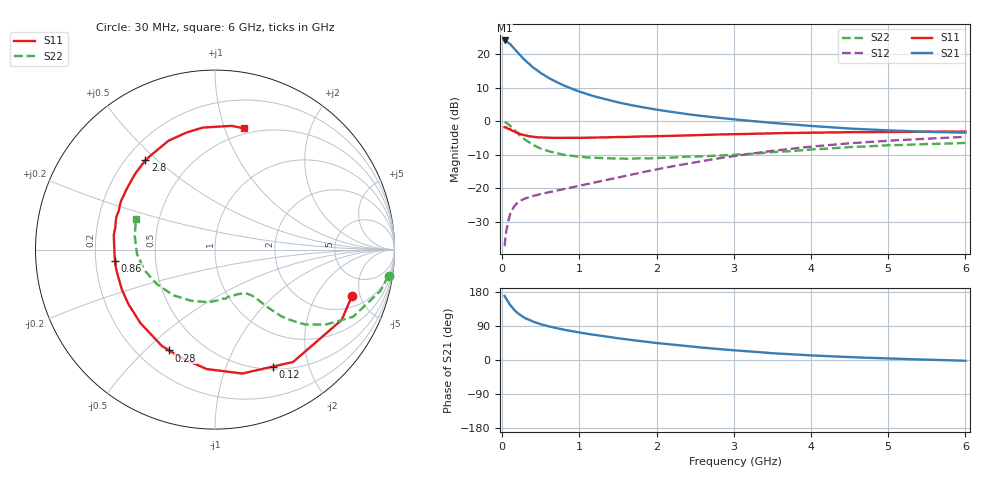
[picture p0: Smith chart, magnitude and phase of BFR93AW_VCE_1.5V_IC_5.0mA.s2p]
! Infineon Technologies  Discrete & RF Semiconductors
! BFR93AW
! VCE =  1.5 V,  IC =  5.0 mA
! Common Emitter S-Parameters:  Nov 2015
# GHz  S  MA  R  50
!  f  S11  S21  S12  S22
! GHz  MAG  ANG  MAG  ANG  MAG  ANG  MAG  ANG
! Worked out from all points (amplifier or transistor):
!   206 points, 30 MHz to 6 GHz, reference 50 ohm
!   highest |S21| = 24.0 dB at 30 MHz (marker M1)
!   |S21| within 3 dB of that: start of sweep to 176.6 MHz
!   unconditionally stable (mu >= 1): 925.9 MHz to 2.565 GHz
!   at 200 MHz: K = 0.31, MSG = 22.4 dB, |S12| = -24.3 dB
!   at 1.56 GHz: K = 1.12, MAG = 8.8 dB, |S12| = -16.5 dB
!   at 6 GHz: K = 0.97, MSG = 0.6 dB, |S12| = -4.7 dB
!   S11 on the Smith chart (normalised r, x): 30 MHz: 2.89, -4.24; 120 MHz: 0.53, -1.47; 280 MHz: 0.33, -0.59; 860 MHz: 0.28, -0.05; 2.8 GHz: 0.28, +0.46; 6 GHz: 0.45, +1.16
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0.03  0.8064 -18.5  15.93 169.0  0.0136 77.6  0.9777 -8.6
0.05  0.8073 -29.0  15.66 161.5  0.0224 75.1  0.9488 -14.2
0.1  0.7624 -55.2  14.15 145.7  0.0403 63.5  0.856 -25.9
0.12  0.7269 -63.7  13.3 141.0  0.0452 59.4  0.8102 -28.9
0.15  0.707 -77.6  12.2 132.9  0.0528 54.8  0.7462 -34.0
0.2  0.6672 -94.0  10.53 123.5  0.0608 49.2  0.6554 -39.6
0.24  0.6346 -105.1  9.358 117.6  0.065 46.0  0.5935 -42.2
0.28  0.6172 -114.5  8.399 112.5  0.0686 44.4  0.5446 -44.3
0.3  0.6129 -118.9  7.962 110.0  0.0702 43.9  0.5223 -45.2
0.4  0.5833 -135.5  6.285 101.1  0.0763 41.7  0.4395 -47.5
0.5  0.5701 -147.7  5.192 94.2  0.0817 42.3  0.3865 -48.9
0.6  0.5648 -156.4  4.396 88.8  0.0863 43.3  0.3544 -49.8
0.7  0.5608 -164.0  3.83 84.2  0.0916 45.1  0.3322 -51.0
0.86  0.5606 -173.5  3.168 77.7  0.1002 47.9  0.3069 -53.5
1.04  0.5621 177.9  2.654 71.2  0.1109 51.0  0.2907 -57.0
1.5  0.5792 161.6  1.897 57.4  0.1441 56.7  0.2771 -68.8
2.02  0.5959 146.4  1.465 44.4  0.1916 59.2  0.2821 -84.9
2.8  0.631 127.9  1.119 28.9  0.2777 57.0  0.3053 -109.3
3.1  0.6393 121.3  1.034 24.2  0.3112 54.6  0.318 -118.7
4.1  0.6724 102.2  0.83 11.2  0.425 44.0  0.3813 -152.4
5.1  0.6869 87.3  0.719 3.2  0.5166 31.5  0.4374 -179.6
6  0.6942 76.6  0.671 -2.0  0.5803 20.9  0.4721 159.0
